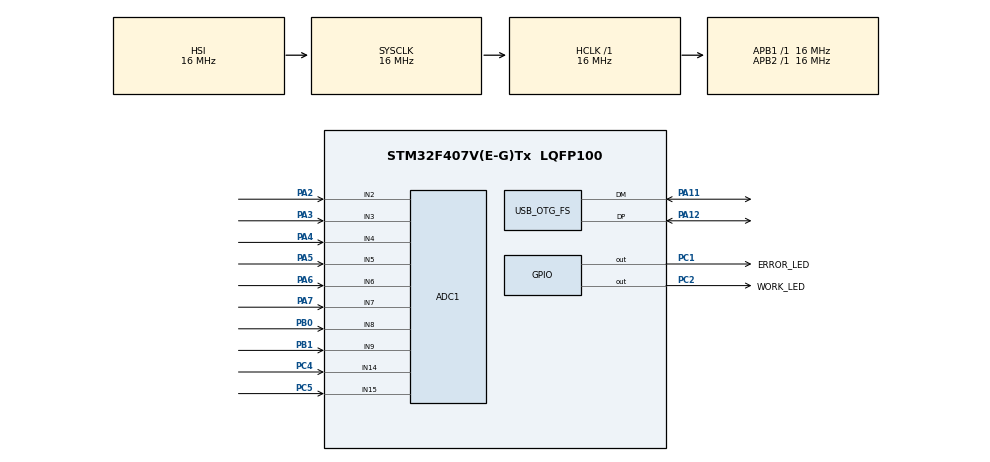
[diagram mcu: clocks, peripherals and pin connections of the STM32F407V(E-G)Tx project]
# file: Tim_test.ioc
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ADC1.Channel-0\#ChannelRegularConversion=ADC_CHANNEL_2
ADC1.Channel-1\#ChannelRegularConversion=ADC_CHANNEL_3
ADC1.Channel-2\#ChannelRegularConversion=ADC_CHANNEL_4
ADC1.Channel-3\#ChannelRegularConversion=ADC_CHANNEL_5
ADC1.Channel-4\#ChannelRegularConversion=ADC_CHANNEL_6
ADC1.Channel-5\#ChannelRegularConversion=ADC_CHANNEL_7
ADC1.Channel-6\#ChannelRegularConversion=ADC_CHANNEL_8
ADC1.Channel-7\#ChannelRegularConversion=ADC_CHANNEL_9
ADC1.Channel-8\#ChannelRegularConversion=ADC_CHANNEL_14
ADC1.Channel-9\#ChannelRegularConversion=ADC_CHANNEL_15
ADC1.DMAContinuousRequests=ENABLE
ADC1.ExternalTrigConv=ADC_EXTERNALTRIGCONV_T2_TRGO
ADC1.NbrOfConversion=10
ADC1.NbrOfConversionFlag=1
ADC1.Rank-0\#ChannelRegularConversion=1
ADC1.Rank-1\#ChannelRegularConversion=2
ADC1.Rank-2\#ChannelRegularConversion=3
ADC1.Rank-3\#ChannelRegularConversion=4
ADC1.Rank-4\#ChannelRegularConversion=5
ADC1.Rank-5\#ChannelRegularConversion=6
ADC1.Rank-6\#ChannelRegularConversion=7
ADC1.Rank-7\#ChannelRegularConversion=8
ADC1.Rank-8\#ChannelRegularConversion=9
ADC1.Rank-9\#ChannelRegularConversion=10
ADC1.SamplingTime-0\#ChannelRegularConversion=ADC_SAMPLETIME_3CYCLES
ADC1.SamplingTime-1\#ChannelRegularConversion=ADC_SAMPLETIME_3CYCLES
ADC1.SamplingTime-2\#ChannelRegularConversion=ADC_SAMPLETIME_3CYCLES
ADC1.SamplingTime-3\#ChannelRegularConversion=ADC_SAMPLETIME_3CYCLES
ADC1.SamplingTime-4\#ChannelRegularConversion=ADC_SAMPLETIME_3CYCLES
ADC1.SamplingTime-5\#ChannelRegularConversion=ADC_SAMPLETIME_3CYCLES
ADC1.SamplingTime-6\#ChannelRegularConversion=ADC_SAMPLETIME_3CYCLES
ADC1.SamplingTime-7\#ChannelRegularConversion=ADC_SAMPLETIME_3CYCLES
ADC1.SamplingTime-8\#ChannelRegularConversion=ADC_SAMPLETIME_3CYCLES
ADC1.SamplingTime-9\#ChannelRegularConversion=ADC_SAMPLETIME_3CYCLES
ADC1.ScanConvMode=ENABLE
ADC1.master=1
Dma.ADC1.0.Direction=DMA_PERIPH_TO_MEMORY
Dma.ADC1.0.FIFOMode=DMA_FIFOMODE_DISABLE
Dma.ADC1.0.Instance=DMA2_Stream0
Dma.ADC1.0.MemDataAlignment=DMA_MDATAALIGN_HALFWORD
Dma.ADC1.0.MemInc=DMA_MINC_ENABLE
Dma.ADC1.0.Mode=DMA_CIRCULAR
Dma.ADC1.0.PeriphDataAlignment=DMA_PDATAALIGN_HALFWORD
Dma.ADC1.0.PeriphInc=DMA_PINC_DISABLE
Dma.ADC1.0.Priority=DMA_PRIORITY_LOW
Dma.Request0=ADC1
Mcu.Family=STM32F4
Mcu.Name=STM32F407V(E-G)Tx
Mcu.Package=LQFP100
NVIC.DMA2_Stream0_IRQn=true\:0\:0\:false\:false\:true\:false\:true
NVIC.OTG_FS_IRQn=true\:0\:0\:false\:false\:true\:false\:true
NVIC.PriorityGroup=NVIC_PRIORITYGROUP_4
PA11.Mode=Device_Only
PA11.Signal=USB_OTG_FS_DM
PA12.Mode=Device_Only
PA12.Signal=USB_OTG_FS_DP
PA2.Signal=ADCx_IN2
PA3.Signal=ADCx_IN3
PA4.Signal=ADCx_IN4
PA5.Signal=ADCx_IN5
PA6.Signal=ADCx_IN6
PA7.Signal=ADCx_IN7
PB0.Signal=ADCx_IN8
PB1.Signal=ADCx_IN9
PC1.GPIO_Label=ERROR_LED
PC1.Signal=GPIO_Output
PC14-OSC32_IN.Mode=LSE-External-Oscillator
PC14-OSC32_IN.Signal=RCC_OSC32_IN
PC15-OSC32_OUT.Mode=LSE-External-Oscillator
PC15-OSC32_OUT.Signal=RCC_OSC32_OUT
PC2.GPIO_Label=WORK_LED
PC2.Signal=GPIO_Output
PC4.Signal=ADCx_IN14
PC5.Signal=ADCx_IN15
PH0-OSC_IN.Mode=HSE-External-Oscillator
PH0-OSC_IN.Signal=RCC_OSC_IN
PH1-OSC_OUT.Mode=HSE-External-Oscillator
PH1-OSC_OUT.Signal=RCC_OSC_OUT
ProjectManager.HeapSize=0x1600
ProjectManager.StackSize=0x400
ProjectManager.TargetToolchain=SW4STM32
RCC.48MHZClocksFreq_Value=48000000
RCC.AHBFreq_Value=16000000
RCC.APB1Freq_Value=16000000
RCC.APB2Freq_Value=16000000
RCC.APB2TimFreq_Value=16000000
RCC.CortexFreq_Value=16000000
RCC.HSE_VALUE=8000000
RCC.HSI_VALUE=16000000
RCC.PLLM=4
RCC.PLLN=72
RCC.PLLQ=3
RCC.SYSCLKFreq_VALUE=16000000
RCC.VCOOutputFreq_Value=144000000
SH.ADCx_IN14.0=ADC1_IN14,IN14
SH.ADCx_IN15.0=ADC1_IN15,IN15
SH.ADCx_IN2.0=ADC1_IN2,IN2
SH.ADCx_IN3.0=ADC1_IN3,IN3
SH.ADCx_IN4.0=ADC1_IN4,IN4
SH.ADCx_IN5.0=ADC1_IN5,IN5
SH.ADCx_IN6.0=ADC1_IN6,IN6
SH.ADCx_IN7.0=ADC1_IN7,IN7
SH.ADCx_IN8.0=ADC1_IN8,IN8
SH.ADCx_IN9.0=ADC1_IN9,IN9
TIM2.AutoReloadPreload=TIM_AUTORELOAD_PRELOAD_DISABLE
TIM2.Period=1000
TIM2.Prescaler=15
TIM2.TIM_MasterOutputTrigger=TIM_TRGO_UPDATE
TIM2.TIM_MasterSlaveMode=TIM_MASTERSLAVEMODE_DISABLE
USB_DEVICE.CLASS_NAME_FS=CDC
USB_DEVICE.VirtualMode-CDC_FS=Cdc
USB_DEVICE.VirtualModeFS=Cdc_FS
USB_OTG_FS.VirtualMode=Device_Only
VP_TIM2_VS_ClockSourceINT.Mode=Internal
VP_USB_DEVICE_VS_USB_DEVICE_CDC_FS.Mode=CDC_FS
board=custom

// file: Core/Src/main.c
/* USER CODE BEGIN Header */
/**
  ******************************************************************************
  * @file           : main.c
  * @brief          : Main program body
  ******************************************************************************
  * @attention
  *
  * <h2><center>&copy; Copyright (c) 2021 STMicroelectronics.
  * All rights reserved.</center></h2>
  *
  * This software component is licensed by ST under BSD 3-Clause license,
  * the "License"; You may not use this file except in compliance with the
  * License. You may obtain a copy of the License at:
  *                        opensource.org/licenses/BSD-3-Clause
  *
  ******************************************************************************
  */
/* USER CODE END Header */
#include "main.h"
#include "adc.h"
#include "dma.h"
#include "tim.h"
#include "usb_device.h"
#include "gpio.h"

/* USER CODE BEGIN Includes */
#include "usbd_cdc_if.h"
/* USER CODE END Includes */

void SystemClock_Config(void);

/* USER CODE BEGIN 0 */
volatile uint16_t adc[10] = {0, 0, 0, 0, 0, 0, 0, 0, 0, 0};
volatile uint8_t flag = 0;

void HAL_ADC_ConvCpltCallback(ADC_HandleTypeDef *hadc) {
    if (hadc->Instance == ADC1) {
        flag = 1;
            char str_tx[100];
            sprintf(str_tx, "$%u %u %u %u %u %u %u %u %u %u;\n",
                    adc[0], adc[1],adc[2],adc[3],adc[4],adc[5],adc[6],adc[7],adc[8], adc[9]);
            CDC_Transmit_FS(str_tx, strlen(str_tx));
//        HAL_GPIO_WritePin(GPIOC, ERROR_LED_Pin, GPIO_PIN_SET);
//        HAL_ADC_Start_DMA(&hadc1, (uint32_t *) &adc, 10);
//        HAL_ADC_Start_DMA(&hadc1, (uint32_t *) &adc, 2);
    }
}
/* USER CODE END 0 */

int main(void)
{

  /* MCU Configuration--------------------------------------------------------*/

  /* Reset of all peripherals, Initializes the Flash interface and the Systick. */
  HAL_Init();

  /* Configure the system clock */
  SystemClock_Config();

  /* Initialize all configured peripherals */
  MX_GPIO_Init();
  MX_DMA_Init();
  MX_TIM2_Init();
  MX_ADC1_Init();
  MX_USB_DEVICE_Init();
  /* USER CODE BEGIN 2 */
    if (HAL_OK != HAL_ADC_Start_DMA(&hadc1, (uint32_t *) &adc, 10)) {
        Error_Handler();
    }

    if (HAL_OK != HAL_TIM_Base_Start(&htim2)) {
        Error_Handler();
    }

  /* USER CODE END 2 */

  /* Infinite loop */
  /* USER CODE BEGIN WHILE */

    HAL_GPIO_WritePin(GPIOC, WORK_LED_Pin, GPIO_PIN_SET);
    while (1) {

//        if (flag) {
//            flag = 0;
//            char *txt = "ping from mainloop\n";
//            CDC_Transmit_FS(txt, strlen(txt));
////            HAL_ADC_Start_DMA(&hadc1, (uint32_t*)&adc, 2);
//        }

    /* USER CODE END WHILE */

    }
}

void SystemClock_Config(void)
{
  RCC_OscInitTypeDef RCC_OscInitStruct = {0};
  RCC_ClkInitTypeDef RCC_ClkInitStruct = {0};

  /** Configure the main internal regulator output voltage
  */
  __HAL_RCC_PWR_CLK_ENABLE();
  __HAL_PWR_VOLTAGESCALING_CONFIG(PWR_REGULATOR_VOLTAGE_SCALE1);
  /** Initializes the RCC Oscillators according to the specified parameters
  * in the RCC_OscInitTypeDef structure.
  */
  RCC_OscInitStruct.OscillatorType = RCC_OSCILLATORTYPE_HSI|RCC_OSCILLATORTYPE_HSE;
  RCC_OscInitStruct.HSEState = RCC_HSE_ON;
  RCC_OscInitStruct.HSIState = RCC_HSI_ON;
  RCC_OscInitStruct.HSICalibrationValue = RCC_HSICALIBRATION_DEFAULT;
  RCC_OscInitStruct.PLL.PLLState = RCC_PLL_ON;
  RCC_OscInitStruct.PLL.PLLSource = RCC_PLLSOURCE_HSE;
  RCC_OscInitStruct.PLL.PLLM = 4;
  RCC_OscInitStruct.PLL.PLLN = 72;
  RCC_OscInitStruct.PLL.PLLP = RCC_PLLP_DIV2;
  RCC_OscInitStruct.PLL.PLLQ = 3;
  if (HAL_RCC_OscConfig(&RCC_OscInitStruct) != HAL_OK)
  {
    Error_Handler();
  }
  /** Initializes the CPU, AHB and APB buses clocks
  */
  RCC_ClkInitStruct.ClockType = RCC_CLOCKTYPE_HCLK|RCC_CLOCKTYPE_SYSCLK
                              |RCC_CLOCKTYPE_PCLK1|RCC_CLOCKTYPE_PCLK2;
  RCC_ClkInitStruct.SYSCLKSource = RCC_SYSCLKSOURCE_HSI;
  RCC_ClkInitStruct.AHBCLKDivider = RCC_SYSCLK_DIV1;
  RCC_ClkInitStruct.APB1CLKDivider = RCC_HCLK_DIV1;
  RCC_ClkInitStruct.APB2CLKDivider = RCC_HCLK_DIV1;

  if (HAL_RCC_ClockConfig(&RCC_ClkInitStruct, FLASH_LATENCY_0) != HAL_OK)
  {
    Error_Handler();
  }
}

void Error_Handler(void)
{
  /* USER CODE BEGIN Error_Handler_Debug */
    /* User can add his own implementation to report the HAL error return state */
    __disable_irq();
    HAL_GPIO_WritePin(GPIOC, WORK_LED_Pin, GPIO_PIN_RESET);
    while (1) {
        HAL_GPIO_WritePin(GPIOC, ERROR_LED_Pin, GPIO_PIN_SET);
        for (int i = 0; i < 2000000; ++i) {
        }
        HAL_GPIO_WritePin(GPIOC, ERROR_LED_Pin, GPIO_PIN_RESET);
        for (int i = 0; i < 2000000; ++i) {
        }
    }
  /* USER CODE END Error_Handler_Debug */
}

/************************ (C) COPYRIGHT STMicroelectronics *****END OF FILE****/
